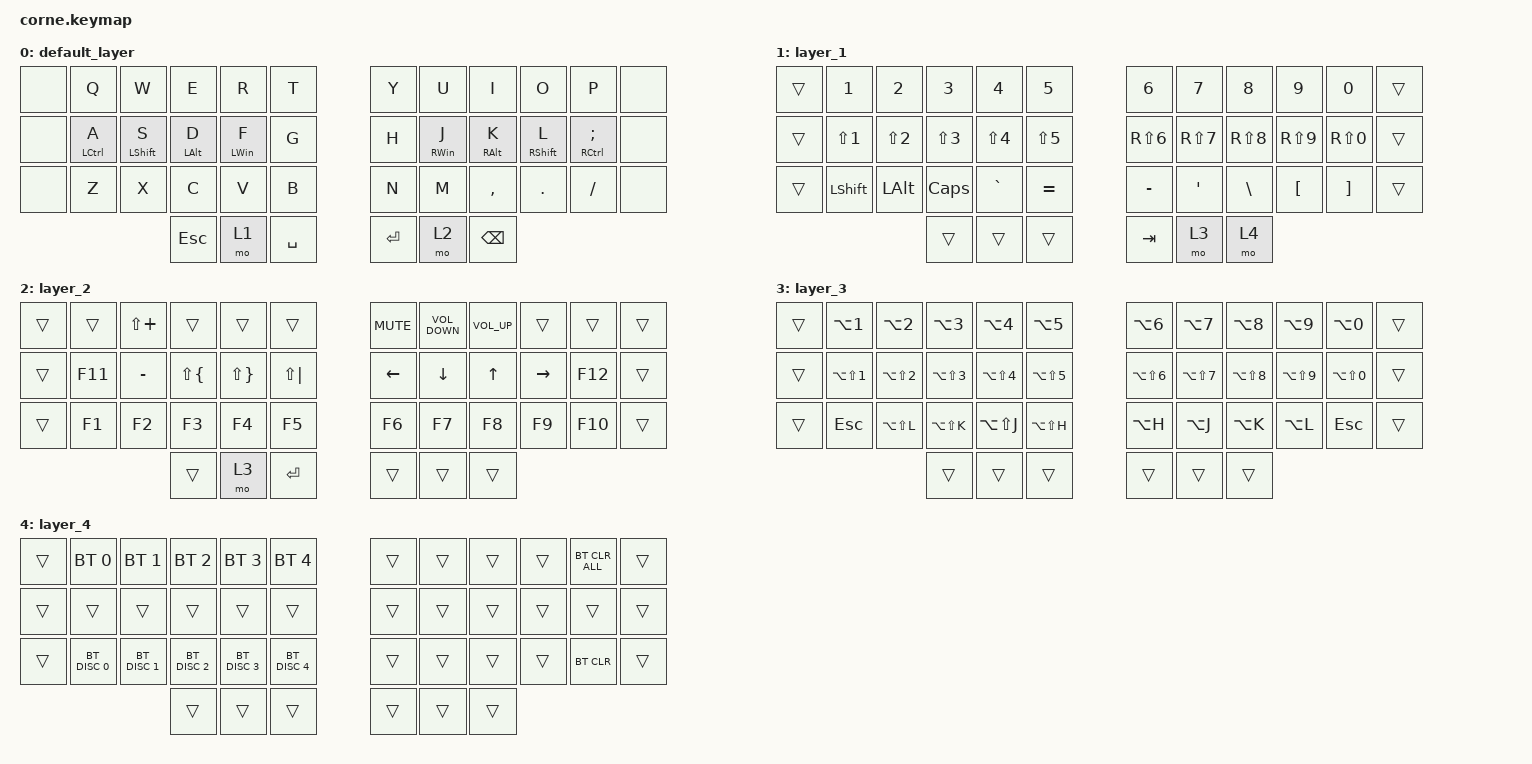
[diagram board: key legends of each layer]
/*
 * Copyright (c) 2020 The ZMK Contributors
 *
 * SPDX-License-Identifier: MIT
 */

#include <behaviors.dtsi>
#include <dt-bindings/zmk/bt.h>
#include <dt-bindings/zmk/keys.h>

/ {
    behaviors {
        hm: homerow_mods {
            compatible = "zmk,behavior-hold-tap";
            label = "HOMEROW_MODS";
            #binding-cells = <2>;
            tapping-term-ms = <200>;
            quick_tap_ms = <0>;
            flavor = "tap-preferred";
            bindings = <&kp>, <&kp>;

            quick-tap-ms = <180>;
            global-quick-tap;
        };
    };

    combos {
        compatible = "zmk,combos";

        leftpar {
            bindings = <&kp LEFT_PARENTHESIS>;
            key-positions = <7 8>;
        };

        rightpar {
            bindings = <&kp RIGHT_PARENTHESIS>;
            key-positions = <10 9>;
        };

        rightbrace {
            bindings = <&kp RIGHT_BRACE>;
            key-positions = <22 21>;
        };

        leftbrace {
            bindings = <&kp LEFT_BRACE>;
            key-positions = <19 20>;
        };

        leftsq {
            bindings = <&kp LEFT_BRACKET>;
            key-positions = <31 32>;
        };

        rightsq {
            bindings = <&kp RIGHT_BRACKET>;
            key-positions = <33 34>;
        };

        eq {
            bindings = <&kp EQUAL>;
            key-positions = <1 2>;
        };

        plus {
            bindings = <&kp PLUS>;
            key-positions = <3 4>;
        };

        minus {
            bindings = <&kp MINUS>;
            key-positions = <15 16>;
        };

        underscore {
            bindings = <&kp UNDERSCORE>;
            key-positions = <13 14>;
        };

        sqoute {
            bindings = <&kp SINGLE_QUOTE>;
            key-positions = <26 25>;
        };

        dqoute {
            bindings = <&kp DOUBLE_QUOTES>;
            key-positions = <27 28>;
        };
    };

    keymap {
        compatible = "zmk,keymap";

        default_layer {
            // -----------------------------------------------------------------------------------------
            // |  TAB |  Q  |  W  |  E  |  R  |  T  |   |  Y  |  U   |  I  |  O  |  P  | BSPC |
            // | CTRL |  A  |  S  |  D  |  F  |  G  |   |  H  |  J   |  K  |  L  |  ;  |  '   |
            // | SHFT |  Z  |  X  |  C  |  V  |  B  |   |  N  |  M   |  ,  |  .  |  /  | ESC  |
            //                    | GUI | LWR | SPC |   | ENT | RSE  | ALT |

            bindings = <
&none  &kp Q        &kp W             &kp E           &kp R           &kp T        &kp Y       &kp U            &kp I            &kp O              &kp P           &none
&none  &hm LCTRL A  &hm LEFT_SHIFT S  &hm LEFT_ALT D  &hm LEFT_WIN F  &kp G        &kp H       &hm RIGHT_WIN J  &hm RIGHT_ALT K  &hm RIGHT_SHIFT L  &hm RCTRL SEMI  &none
&none  &kp Z        &kp X             &kp C           &kp V           &kp B        &kp N       &kp M            &kp COMMA        &kp DOT            &kp FSLH        &none
                                      &kp ESCAPE      &mo 1           &kp SPACE    &kp RETURN  &mo 2            &kp BACKSPACE
            >;
        };

        layer_1 {
            bindings = <
&trans  &kp N1      &kp N2        &kp N3      &kp N4      &kp N5        &kp N6      &kp N7            &kp N8         &kp N9            &kp N0             &trans
&trans  &kp LS(N1)  &kp LS(N2)    &kp LS(N3)  &kp LS(N4)  &kp LS(N5)    &kp RS(N6)  &kp RS(N7)        &kp RS(N8)     &kp RS(N9)        &kp RS(N0)         &trans
&trans  &kp LSHFT   &kp LEFT_ALT  &kp CAPS    &kp GRAVE   &kp EQUAL     &kp MINUS   &kp SINGLE_QUOTE  &kp BACKSLASH  &kp LEFT_BRACKET  &kp RIGHT_BRACKET  &trans
                                  &trans      &trans      &trans        &kp TAB     &mo 3             &mo 4
            >;
        };

        layer_2 {
            bindings = <
&trans  &trans   &kp LS(PLUS)  &trans        &trans        &trans          &kp K_MUTE  &kp K_VOLUME_DOWN  &kp C_VOLUME_UP  &trans     &trans   &trans
&trans  &kp F11  &kp MINUS     &kp LS(LBRC)  &kp LS(RBRC)  &kp LS(PIPE)    &kp LEFT    &kp DOWN           &kp UP           &kp RIGHT  &kp F12  &trans
&trans  &kp F1   &kp F2        &kp F3        &kp F4        &kp F5          &kp F6      &kp F7             &kp F8           &kp F9     &kp F10  &trans
                               &trans        &mo 3         &kp RET         &trans      &trans             &trans
            >;
        };

        layer_3 {
            bindings = <
&trans  &kp LA(NUMBER_1)  &kp LA(N2)      &kp LA(N3)      &kp LA(N4)      &kp LA(N5)        &kp LA(N6)      &kp LA(N7)      &kp LA(N8)      &kp LA(N9)      &kp LA(N0)      &trans
&trans  &kp LA(LS(N1))    &kp LA(LS(N2))  &kp LA(LS(N3))  &kp LA(LS(N4))  &kp LA(LS(N5))    &kp LA(LS(N6))  &kp LA(LS(N7))  &kp LA(LS(N8))  &kp LA(LS(N9))  &kp LA(LS(N0))  &trans
&trans  &kp ESC           &kp LA(LS(L))   &kp LA(LS(K))   &kp LA(LS(J))   &kp LA(LS(H))     &kp LA(H)       &kp LA(J)       &kp LA(K)       &kp LA(L)       &kp ESC         &trans
                                          &trans          &trans          &trans            &trans          &trans          &trans
            >;
        };

        layer_4 {
            bindings = <
&trans  &bt BT_SEL 0   &bt BT_SEL 1   &bt BT_SEL 2   &bt BT_SEL 3   &bt BT_SEL 4     &trans  &trans  &trans  &trans  &bt BT_CLR_ALL  &trans
&trans  &trans         &trans         &trans         &trans         &trans           &trans  &trans  &trans  &trans  &trans          &trans
&trans  &bt BT_DISC 0  &bt BT_DISC 1  &bt BT_DISC 2  &bt BT_DISC 3  &bt BT_DISC 4    &trans  &trans  &trans  &trans  &bt BT_CLR      &trans
                                      &trans         &trans         &trans           &trans  &trans  &trans
            >;
        };
    };
};
